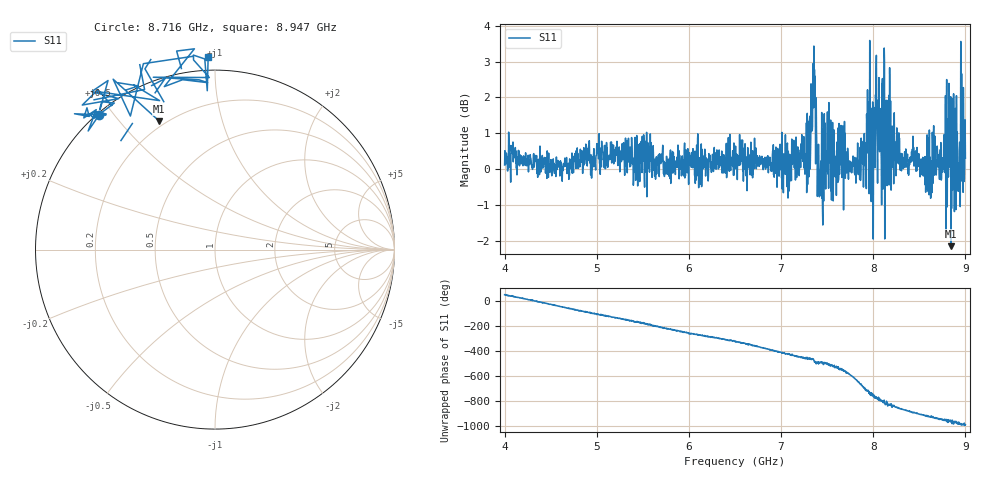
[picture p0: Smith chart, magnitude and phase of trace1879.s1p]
! Created with skrf 1.8.0 (http://scikit-rf.org).
# Hz S RI R 50.0
!freq ReS11 ImS11
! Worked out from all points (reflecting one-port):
!   1601 points, 4 GHz to 9 GHz, reference 50 ohm
!   lowest |S11| = -2.2 dB at 8.844 GHz (marker M1), VSWR 8.11, Z = 8.76 + j32.1 ohm
!   phase of S11 starts at 52 deg and turns -1044 deg over the sweep
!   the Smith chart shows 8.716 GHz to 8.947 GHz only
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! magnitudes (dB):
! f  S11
! 4 GHz  0.1
! 4.625 GHz  -0.3
! 5.25 GHz  -0.1
! 5.875 GHz  0.1
! 6.5 GHz  0.3
! 7.125 GHz  0.6
! 7.281 GHz  0.1
! 7.347 GHz  2.9
! 7.366 GHz  2.1
! 7.428 GHz  0.0
! 7.519 GHz  1.9
! 7.591 GHz  0.4
! 7.65 GHz  1.2
! 7.75 GHz  -0.1
! 7.9 GHz  0.4
! 7.947 GHz  1.0
! 7.997 GHz  1.6
! 8.009 GHz  1.6
! 8.05 GHz  1.9
! 8.066 GHz  0.8
! 8.119 GHz  3.4
! 8.15 GHz  -0.5
! 8.375 GHz  0.3
! 8.612 GHz  -0.1
! 8.844 GHz  -2.2
! 8.919 GHz  -0.3
! 8.972 GHz  0.4
! 9 GHz  0.3
